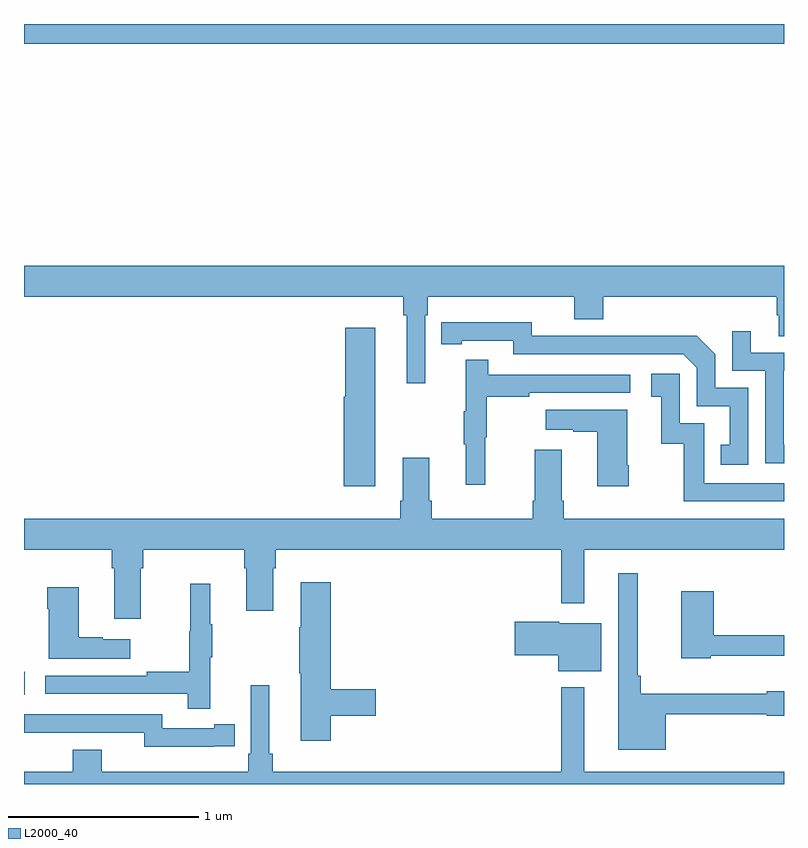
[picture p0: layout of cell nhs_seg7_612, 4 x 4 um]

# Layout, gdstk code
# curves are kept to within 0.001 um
import gdstk
lib = gdstk.Library(unit=1e-6, precision=1e-09)
def R(c, l, rs):  # rectangles x0, y0, x1, y1
    for r in rs: c.add(gdstk.rectangle(r[:2], r[2:], *l))
def P(c, l, *ps):  # polygons
    for p in ps: c.add(gdstk.Polygon(p, *l))
L2000_40 = (2000, 40)

nhs_seg7_612 = lib.new_cell('nhs_seg7_612')
R(nhs_seg7_612, L2000_40, [(157,1050.471,157.003,1050.591), (157,1053.896,161,1054)])
P(nhs_seg7_612, L2000_40, [(159.111,1052.468),(159.125,1052.468),(159.125,1052.564),(159.896,1052.564),(159.896,1052.447),(160.049,1052.447),(160.049,1052.564),(160.961,1052.564),(160.961,1052.466),(160.973,1052.466),(160.973,1052.356),(161,1052.356),(161,1052.728),(157,1052.728),(157,1052.564),(158.995,1052.564),(158.995,1052.468),(159.014,1052.468),(159.014,1052.109),(159.111,1052.109)],
  [(160.812,1052.085),(160.638,1052.085),(160.638,1052.262),(160.54,1052.36),(160.132,1052.36),(160.132,1052.358),(159.672,1052.358),(159.672,1052.431),(159.196,1052.43),(159.196,1052.314),(159.304,1052.314),(159.304,1052.334),(159.576,1052.334),(159.576,1052.262),(160.47,1052.262),(160.542,1052.19),(160.542,1051.989),(160.715,1051.989),(160.715,1051.785),(160.666,1051.785),(160.666,1051.68),(160.812,1051.68)],
  [(158.848,1052.401),(158.69,1052.401),(158.69,1052.037),(158.684,1052.037),(158.684,1051.566),(158.848,1051.566)],
  [(161,1051.786),(160.998,1051.786),(160.998,1052.175),(161,1052.175),(161,1052.271),(160.825,1052.271),(160.825,1052.383),(160.728,1052.383),(160.728,1052.175),(160.902,1052.175),(160.902,1051.689),(161,1051.689)],
  [(159.428,1051.824),(159.436,1051.824),(159.436,1052.038),(159.659,1052.038),(159.659,1052.058),(160.192,1052.058),(160.192,1052.154),(159.443,1052.154),(159.443,1052.233),(159.326,1052.233),(159.326,1051.961),(159.315,1051.961),(159.315,1051.787),(159.326,1051.787),(159.326,1051.575),(159.428,1051.575)],
  [(161,1051.584),(160.581,1051.584),(160.581,1051.899),(160.452,1051.899),(160.452,1052.158),(160.302,1052.158),(160.302,1052.037),(160.355,1052.037),(160.355,1051.791),(160.473,1051.791),(160.473,1051.488),(161,1051.488)],
  [(160.182,1051.678),(160.174,1051.678),(160.174,1051.969),(159.747,1051.969),(159.747,1051.865),(159.89,1051.865),(159.89,1051.855),(160.016,1051.855),(160.016,1051.566),(160.182,1051.566)],
  [(157.615,1051.136),(157.628,1051.136),(157.628,1051.232),(158.159,1051.232),(158.159,1051.136),(158.171,1051.136),(158.171,1050.912),(158.311,1050.912),(158.311,1051.136),(158.324,1051.136),(158.324,1051.232),(159.828,1051.232),(159.828,1050.951),(159.949,1050.951),(159.949,1051.232),(161,1051.232),(161,1051.396),(159.842,1051.396),(159.842,1051.492),(159.829,1051.492),(159.829,1051.759),(159.689,1051.759),(159.689,1051.492),(159.677,1051.492),(159.677,1051.396),(159.146,1051.396),(159.146,1051.492),(159.133,1051.492),(159.133,1051.717),(158.993,1051.717),(158.993,1051.492),(158.981,1051.492),(158.981,1051.396),(157,1051.396),(157,1051.232),(157.463,1051.232),(157.463,1051.136),(157.475,1051.136),(157.475,1050.87),(157.615,1050.87)],
  [(160.378,1050.366),(160.908,1050.366),(160.908,1050.358),(161,1050.358),(161,1050.487),(160.908,1050.487),(160.908,1050.476),(160.246,1050.476),(160.246,1050.571),(160.231,1050.571),(160.231,1051.108),(160.127,1051.108),(160.127,1050.179),(160.378,1050.179)],
  [(158.615,1050.358),(158.851,1050.358),(158.851,1050.5),(158.615,1050.5),(158.615,1051.063),(158.456,1051.063),(158.456,1050.824),(158.449,1050.824),(158.449,1050.583),(158.456,1050.583),(158.456,1050.228),(158.615,1050.228)],
  [(157.979,1050.667),(157.99,1050.667),(157.99,1050.841),(157.979,1050.841),(157.979,1051.054),(157.876,1051.054),(157.876,1050.804),(157.869,1050.804),(157.869,1050.59),(157.645,1050.59),(157.645,1050.57),(157.113,1050.57),(157.113,1050.474),(157.861,1050.474),(157.861,1050.396),(157.979,1050.396)],
  [(157.558,1050.763),(157.415,1050.763),(157.415,1050.773),(157.288,1050.773),(157.288,1051.036),(157.123,1051.036),(157.123,1050.923),(157.13,1050.923),(157.13,1050.659),(157.558,1050.659)],
  [(160.614,1050.674),(161,1050.674),(161,1050.784),(160.631,1050.784),(160.631,1051.015),(160.46,1051.015),(160.46,1050.662),(160.614,1050.662)],
  [(160.039,1050.847),(159.816,1050.847),(159.816,1050.855),(159.582,1050.855),(159.582,1050.677),(159.812,1050.677),(159.812,1050.593),(160.039,1050.593)],
  [(161,1050.064),(159.949,1050.064),(159.949,1050.508),(159.828,1050.508),(159.828,1050.064),(158.309,1050.064),(158.309,1050.16),(158.29,1050.16),(158.29,1050.52),(158.193,1050.52),(158.193,1050.16),(158.18,1050.16),(158.18,1050.064),(157.408,1050.064),(157.408,1050.181),(157.256,1050.181),(157.256,1050.064),(157,1050.064),(157,1050),(161,1050)],
  [(158,1050.198),(158.108,1050.198),(158.108,1050.314),(158,1050.314),(158,1050.294),(157.728,1050.294),(157.728,1050.366),(157,1050.366),(157,1050.269),(157.172,1050.269),(157.172,1050.27),(157.632,1050.27),(157.632,1050.197),(158,1050.197)])

lib.write_gds('nhs_seg7_612.gds')
